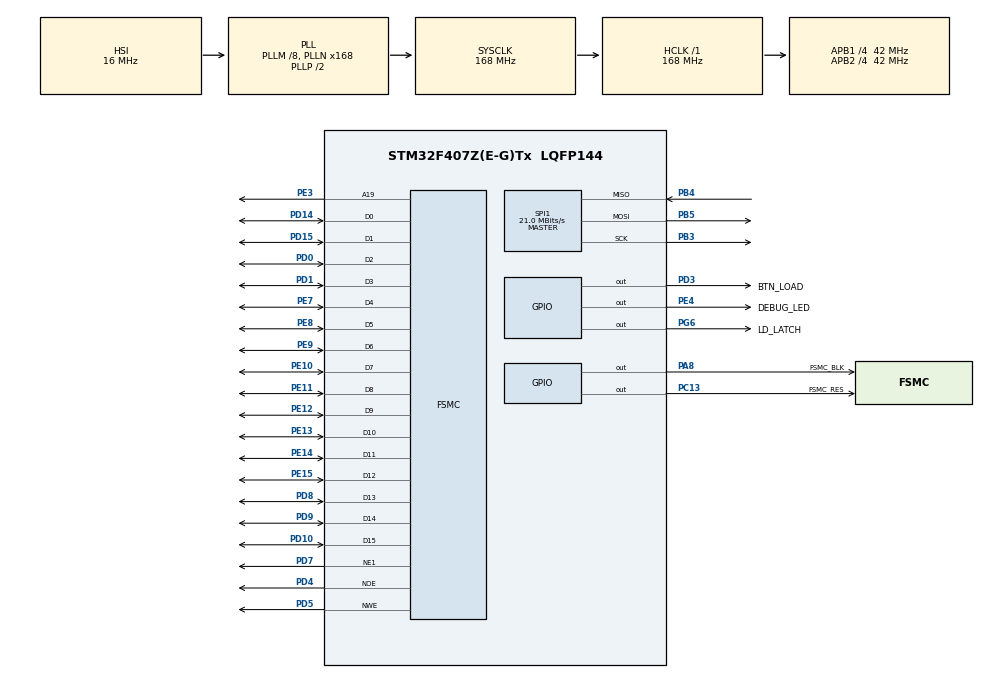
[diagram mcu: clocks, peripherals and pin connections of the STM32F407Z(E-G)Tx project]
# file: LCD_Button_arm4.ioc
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FSMC.AddressSetupTime1=0xf
FSMC.BusTurnAroundDuration1=0
FSMC.DataSetupTime1=60
FSMC.ExtendedAddressSetupTime1=8
FSMC.ExtendedDataSetupTime1=9
FSMC.ExtendedMode1=FSMC_EXTENDED_MODE_ENABLE
Mcu.Family=STM32F4
Mcu.Name=STM32F407Z(E-G)Tx
Mcu.Package=LQFP144
NVIC.PriorityGroup=NVIC_PRIORITYGROUP_4
NVIC.TIM2_IRQn=true\:0\:0\:false\:false\:true\:true\:true\:true
NVIC.TIM4_IRQn=true\:0\:0\:false\:false\:true\:true\:true\:true
PA13.Mode=Serial_Wire
PA13.Signal=SYS_JTMS-SWDIO
PA14.Mode=Serial_Wire
PA14.Signal=SYS_JTCK-SWCLK
PA8.GPIO_Label=FSMC_BLK
PA8.Signal=GPIO_Output
PB3.Mode=Full_Duplex_Master
PB3.Signal=SPI1_SCK
PB4.Mode=Full_Duplex_Master
PB4.Signal=SPI1_MISO
PB5.Mode=Full_Duplex_Master
PB5.Signal=SPI1_MOSI
PC13-ANTI_TAMP.GPIO_Label=FSMC_RES
PC13-ANTI_TAMP.Signal=GPIO_Output
PD0.Signal=FSMC_D2_DA2
PD1.Signal=FSMC_D3_DA3
PD10.Signal=FSMC_D15_DA15
PD14.Signal=FSMC_D0_DA0
PD15.Signal=FSMC_D1_DA1
PD3.GPIO_Label=BTN_LOAD
PD3.Signal=GPIO_Output
PD4.Signal=FSMC_NOE
PD5.Signal=FSMC_NWE
PD7.Mode=NorPsramChipSelect1_1
PD7.Signal=FSMC_NE1
PD8.Signal=FSMC_D13_DA13
PD9.Signal=FSMC_D14_DA14
PE10.Signal=FSMC_D7_DA7
PE11.Signal=FSMC_D8_DA8
PE12.Signal=FSMC_D9_DA9
PE13.Signal=FSMC_D10_DA10
PE14.Signal=FSMC_D11_DA11
PE15.Signal=FSMC_D12_DA12
PE3.Signal=FSMC_A19
PE4.GPIO_Label=DEBUG_LED
PE4.Signal=GPIO_Output
PE7.Signal=FSMC_D4_DA4
PE8.Signal=FSMC_D5_DA5
PE9.Signal=FSMC_D6_DA6
PG6.GPIO_Label=LD_LATCH
PG6.Signal=GPIO_Output
PH0-OSC_IN.Mode=HSE-External-Oscillator
PH0-OSC_IN.Signal=RCC_OSC_IN
PH1-OSC_OUT.Mode=HSE-External-Oscillator
PH1-OSC_OUT.Signal=RCC_OSC_OUT
ProjectManager.HeapSize=0x200
ProjectManager.StackSize=0x400
ProjectManager.TargetToolchain=STM32CubeIDE
RCC.48MHZClocksFreq_Value=84000000
RCC.AHBFreq_Value=168000000
RCC.APB1CLKDivider=RCC_HCLK_DIV4
RCC.APB1Freq_Value=42000000
RCC.APB1TimFreq_Value=84000000
RCC.APB2CLKDivider=RCC_HCLK_DIV4
RCC.APB2Freq_Value=42000000
RCC.APB2TimFreq_Value=84000000
RCC.CortexFreq_Value=168000000
RCC.HCLKFreq_Value=168000000
RCC.HSE_VALUE=8000000
RCC.HSI_VALUE=16000000
RCC.LSE_VALUE=32768
RCC.PLLM=8
RCC.PLLN=168
RCC.SYSCLKFreq_VALUE=168000000
RCC.SYSCLKSource=RCC_SYSCLKSOURCE_PLLCLK
RCC.VCOOutputFreq_Value=336000000
SH.FSMC_A19.0=FSMC_A19,A19_1
SH.FSMC_D0_DA0.0=FSMC_D0,16b-d1
SH.FSMC_D10_DA10.0=FSMC_D10,16b-d1
SH.FSMC_D11_DA11.0=FSMC_D11,16b-d1
SH.FSMC_D12_DA12.0=FSMC_D12,16b-d1
SH.FSMC_D13_DA13.0=FSMC_D13,16b-d1
SH.FSMC_D14_DA14.0=FSMC_D14,16b-d1
SH.FSMC_D15_DA15.0=FSMC_D15,16b-d1
SH.FSMC_D1_DA1.0=FSMC_D1,16b-d1
SH.FSMC_D2_DA2.0=FSMC_D2,16b-d1
SH.FSMC_D3_DA3.0=FSMC_D3,16b-d1
SH.FSMC_D4_DA4.0=FSMC_D4,16b-d1
SH.FSMC_D5_DA5.0=FSMC_D5,16b-d1
SH.FSMC_D6_DA6.0=FSMC_D6,16b-d1
SH.FSMC_D7_DA7.0=FSMC_D7,16b-d1
SH.FSMC_D8_DA8.0=FSMC_D8,16b-d1
SH.FSMC_D9_DA9.0=FSMC_D9,16b-d1
SH.FSMC_NOE.0=FSMC_NOE,Lcd1
SH.FSMC_NWE.0=FSMC_NWE,Lcd1
SPI1.CalculateBaudRate=21.0 MBits/s
SPI1.Direction=SPI_DIRECTION_2LINES
SPI1.Mode=SPI_MODE_MASTER
SPI1.VirtualType=VM_MASTER
TIM2.Period=100-1
TIM2.Prescaler=840-1
TIM4.Period=100-1
TIM4.Prescaler=840-1
VP_TIM2_VS_ClockSourceINT.Mode=Internal
VP_TIM4_VS_ClockSourceINT.Mode=Internal
board=custom

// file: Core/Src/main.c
/* USER CODE BEGIN Header */
/**
  ******************************************************************************
  * @file           : main.c
  * @brief          : Main program body
  ******************************************************************************
  * @attention
  *
  * Copyright (c) 2025 STMicroelectronics.
  * All rights reserved.
  *
  * This software is licensed under terms that can be found in the LICENSE file
  * in the root directory of this software component.
  * If no LICENSE file comes with this software, it is provided AS-IS.
  *
  ******************************************************************************
  */
/* USER CODE END Header */
#include "main.h"
#include "spi.h"
#include "tim.h"
#include "gpio.h"
#include "fsmc.h"

/* USER CODE BEGIN Includes */
#include "software_timer.h"
#include "led_7seg.h"
#include "button.h"
#include "lcd.h"
#include "picture.h"
#include "traffic_light.h"
/* USER CODE END Includes */

void SystemClock_Config(void);
/* USER CODE BEGIN PFP */
void init_system();

int IsButtonUp();
int IsButtonDown();
void TestButtonMatrix();
void TestLcd();
/* USER CODE END PFP */

int main(void)
{

  /* MCU Configuration--------------------------------------------------------*/

  /* Reset of all peripherals, Initializes the Flash interface and the Systick. */
  HAL_Init();

  /* Configure the system clock */
  SystemClock_Config();

  /* Initialize all configured peripherals */
  MX_GPIO_Init();
  MX_FSMC_Init();
  MX_SPI1_Init();
  MX_TIM2_Init();
  MX_TIM4_Init();
  /* USER CODE BEGIN 2 */
  init_system();

//  TestLcd();
//  led_7seg_set_digit(1, 0, 0);
//  led_7seg_set_digit(2, 1, 0);
//  led_7seg_set_digit(3, 2, 0);
//  led_7seg_set_digit(4, 3, 0);
  uint16_t mode_counter = 0;
  lcd_show_picture(80, 200, 90, 90, gImageLogo);
  /* USER CODE END 2 */

  /* Infinite loop */
  /* USER CODE BEGIN WHILE */
  while (1)
  {

	  while(!timer2_flag);
	  timer2_flag = 0;

	  button_scan();

	  switch(current_mode) {
		  case MODE_NORMAL:
			  fsm_normal(mode_counter);
			  // Running system timer
			  mode_counter = (mode_counter + 1) % MODE_NORMAL_TICKS;
			  // Switch mode
			  if(button_count[12] == 1){
				  HAL_GPIO_TogglePin(DEBUG_LED_GPIO_Port, DEBUG_LED_Pin);
				  current_mode = MODE_MODIFY_RED;
				  fsm_modify_init(RED_LIGHT);
			  }
			  break;
		  case MODE_MODIFY_RED:
			  // Running system timer
			  fsm_modify_light(mode_counter, RED_LIGHT);
			  mode_counter = (mode_counter + 1) % MODE_MODIFY_TICKS;
			  // Switch mode
			  if(button_count[12] == 1){
				  HAL_GPIO_TogglePin(DEBUG_LED_GPIO_Port, DEBUG_LED_Pin);
				  current_mode = MODE_MODIFY_GREEN;
				  fsm_modify_init(GREEN_LIGHT);
			  }
			  break;
		  case MODE_MODIFY_GREEN:
			  // Running system timer
			  mode_counter = (mode_counter + 1) % MODE_MODIFY_TICKS;
			  fsm_modify_light(mode_counter, GREEN_LIGHT);
			  // Switch mode
			  if(button_count[12] == 1){
				  HAL_GPIO_TogglePin(DEBUG_LED_GPIO_Port, DEBUG_LED_Pin);
				  current_mode = MODE_MODIFY_YELLOW;
				  fsm_modify_init(YELLOW_LIGHT);
			  }
			  break;
		  case MODE_MODIFY_YELLOW:
			  // Running system timer
			  mode_counter = (mode_counter + 1) % MODE_MODIFY_TICKS;
			  fsm_modify_light(mode_counter, YELLOW_LIGHT);
			  // Switch mode
			  if(button_count[12] == 1){
				  HAL_GPIO_TogglePin(DEBUG_LED_GPIO_Port, DEBUG_LED_Pin);
				  current_mode = MODE_NORMAL;
				  fsm_normal_init();
			  }
			  break;
	  }
//	  if (timer4_flag == 1) {
//		  timer4_flag = 0;
//		  led_7seg_display();
//	  }
    /* USER CODE END WHILE */

  }
}

void SystemClock_Config(void)
{
  RCC_OscInitTypeDef RCC_OscInitStruct = {0};
  RCC_ClkInitTypeDef RCC_ClkInitStruct = {0};

  /** Configure the main internal regulator output voltage
  */
  __HAL_RCC_PWR_CLK_ENABLE();
  __HAL_PWR_VOLTAGESCALING_CONFIG(PWR_REGULATOR_VOLTAGE_SCALE1);

  /** Initializes the RCC Oscillators according to the specified parameters
  * in the RCC_OscInitTypeDef structure.
  */
  RCC_OscInitStruct.OscillatorType = RCC_OSCILLATORTYPE_HSI;
  RCC_OscInitStruct.HSIState = RCC_HSI_ON;
  RCC_OscInitStruct.HSICalibrationValue = RCC_HSICALIBRATION_DEFAULT;
  RCC_OscInitStruct.PLL.PLLState = RCC_PLL_ON;
  RCC_OscInitStruct.PLL.PLLSource = RCC_PLLSOURCE_HSI;
  RCC_OscInitStruct.PLL.PLLM = 8;
  RCC_OscInitStruct.PLL.PLLN = 168;
  RCC_OscInitStruct.PLL.PLLP = RCC_PLLP_DIV2;
  RCC_OscInitStruct.PLL.PLLQ = 4;
  if (HAL_RCC_OscConfig(&RCC_OscInitStruct) != HAL_OK)
  {
    Error_Handler();
  }

  /** Initializes the CPU, AHB and APB buses clocks
  */
  RCC_ClkInitStruct.ClockType = RCC_CLOCKTYPE_HCLK|RCC_CLOCKTYPE_SYSCLK
                              |RCC_CLOCKTYPE_PCLK1|RCC_CLOCKTYPE_PCLK2;
  RCC_ClkInitStruct.SYSCLKSource = RCC_SYSCLKSOURCE_PLLCLK;
  RCC_ClkInitStruct.AHBCLKDivider = RCC_SYSCLK_DIV1;
  RCC_ClkInitStruct.APB1CLKDivider = RCC_HCLK_DIV4;
  RCC_ClkInitStruct.APB2CLKDivider = RCC_HCLK_DIV4;

  if (HAL_RCC_ClockConfig(&RCC_ClkInitStruct, FLASH_LATENCY_5) != HAL_OK)
  {
    Error_Handler();
  }
}

/* USER CODE BEGIN 4 */
void init_system() {
	button_init();
	led_7seg_init();
	lcd_init();
	lcd_clear(WHITE);
	traffic_light_init();

	timer2_init();
	timer2_set(50);

	timer4_init();
	timer4_set(1);

}
// Button example 1: a button is pressed 1 time (50ms).
int IsButtonDown() {
	if (button_count[0] == 1) {
		return 1;
	}
	return 0;
}
// Check if a button is pressed 1 time (50ms),
// or if it is held down for more than 1 second, in which case it returns 1 every 100ms.
int IsButtonUp() {
	if (button_count[1] == 1 || (button_count[1] > 20 && button_count[1] % 2 == 0)) {
		return 1;
	}
	return 0;
}
void TestLcd() {
	lcd_fill(0, 0, 240, 20, BLUE);
//	lcd_show_string_center(0, 2, "Hello World !!!", RED, BLUE, 16, 1);
//	lcd_show_string(20, 30, "Test LCD Screen", WHITE, RED, 24, 0);
//	lcd_draw_rectangle(20, 80, 100, 160, GREEN);
//	lcd_draw_circle(160, 120, BRED, 40, 0);
	lcd_show_picture(80, 200, 90, 90, gImageLogo);
	lcd_show_string_center(0, 2, "Lab 3", WHITE, BLUE, 16, 1);
}
void TestButtonMatrix() {
	for (int i = 0; i < 16; i++) {
		if (button_count[i] != 0) {
			lcd_show_int_num(140, 105, i, 2, BRED, WHITE, 32);
		}
	}
}
/* USER CODE END 4 */

void Error_Handler(void)
{
  __disable_irq();
  while (1)
  {
  }
}
